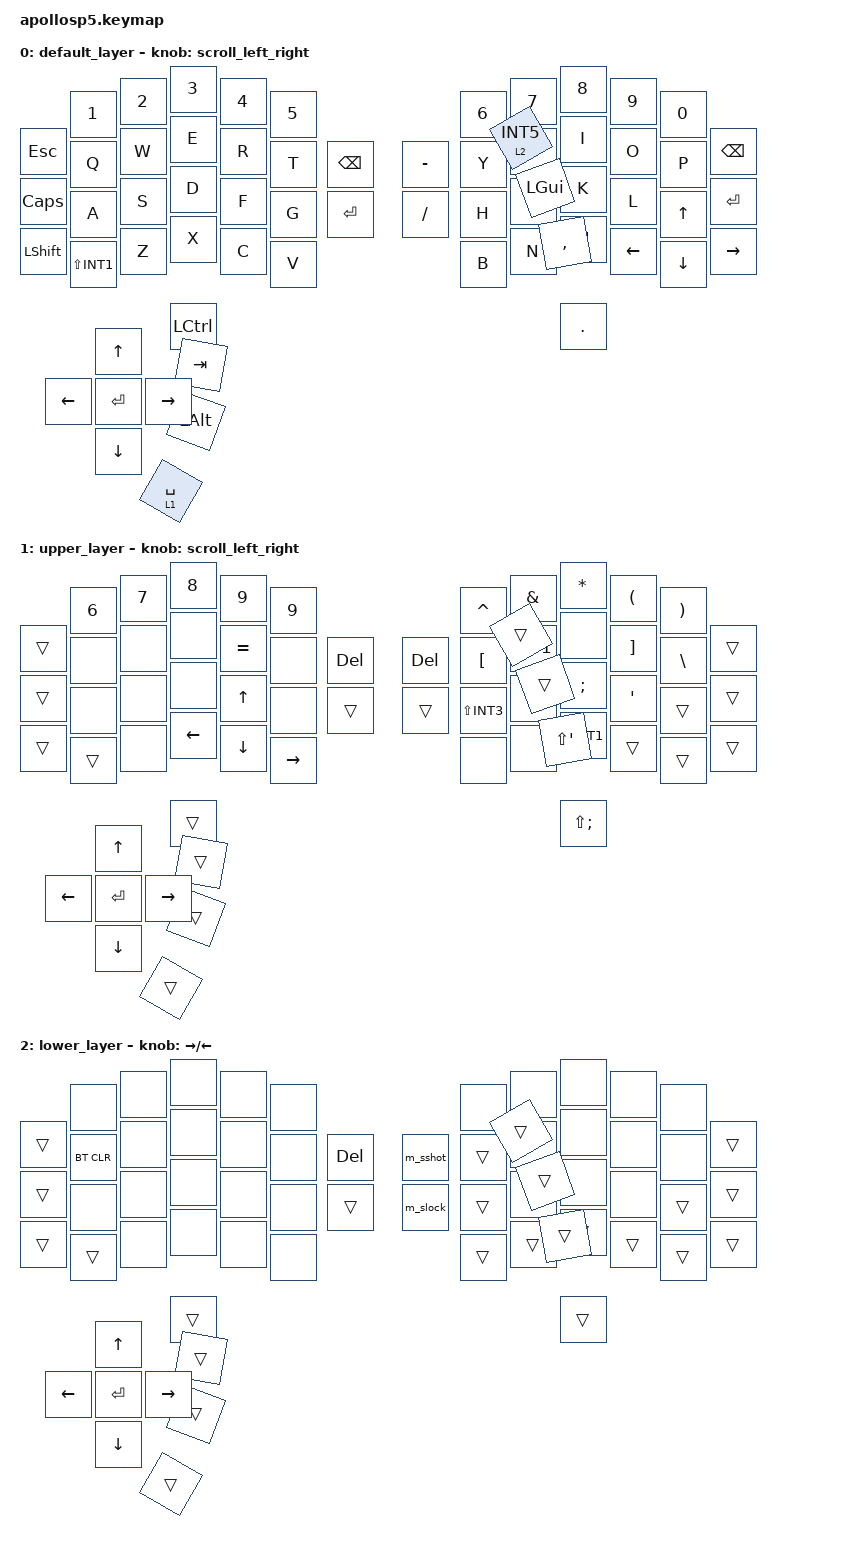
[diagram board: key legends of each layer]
#include <behaviors.dtsi>
#include <dt-bindings/zmk/keys.h>
#include <dt-bindings/zmk/bt.h>
#include <dt-bindings/zmk/outputs.h>
#include <dt-bindings/zmk/pointing.h>
#define ZMK_POINTING_DEFAULT_SCRL_VAL 100

&msc {
        x-input-code = <INPUT_REL_HWHEEL>; // 横スクロールの定義
        y-input-code = <INPUT_REL_WHEEL>;  // 縦スクロールの定義
        time-to-max-speed-ms = <100>;      // 100〜300くらいが快適です
        acceleration-exponent = <3>;       // 0だと等速、1以上だと加速がつきます
};

/ {
        macros {
                // 画面ショット (Shift + Win + S)
                m_sshot: m_sshot {
                        compatible = "zmk,behavior-macro";
                        #binding-cells = <0>;
                        bindings
                                = <&macro_press &kp LSHFT &kp LGUI>
                                , <&macro_tap &kp S>
                                , <&macro_release &kp LSHFT &kp LGUI>;
                };

                // 画面ロック (Ctrl + Alt + Del)
                m_slock: m_slock {
                        compatible = "zmk,behavior-macro";
                        #binding-cells = <0>;
                        bindings
                                = <&macro_press &kp LCTRL &kp LALT>
                                , <&macro_tap &kp DEL>
                                , <&macro_release &kp LCTRL &kp LALT>;
                };
        };


        combos {
                compatible = "zmk,combos";
                // 1 + Q で BT0
                combo_bt0 {
                    timeout-ms = <50>;
                    key-positions = <0 11>;
                    bindings = <&bt BT_SEL 0>;
                    layers = <1>;
                };

                // 2 + W で BT1
                combo_bt1 {
                    timeout-ms = <50>;
                    key-positions = <1 12>;
                    bindings = <&bt BT_SEL 1>;
                    layers = <1>;
                };

                // 3 + E で BT2
                combo_bt2 {
                    timeout-ms = <50>;
                    key-positions = <2 13>;
                    bindings = <&bt BT_SEL 2>;
                    layers = <1>;
                };

                // 4 + R で BT3
                combo_bt3 {
                    timeout-ms = <50>;
                    key-positions = <3 14>;
                    bindings = <&bt BT_SEL 3>;
                    layers = <1>;
                };
        };

        behaviors {
                // 横スクロール
                scroll_left_right: behavior_sensor_rotate_mouse_wheel_left_right {
                        compatible = "zmk,behavior-sensor-rotate";
                        #sensor-binding-cells = <0>;
                        bindings = <&msc SCRL_RIGHT>, <&msc SCRL_LEFT>;
                        tap-ms = <50>;
                };
        };


/* 
 * ============================================================================
 *  JIS (Japanese) Layout Symbol Mapping with Modifiers for ZMK
 *  OS側が日本語配列(JIS)設定の時に、目的の記号を1つのキーで出すための設定
 *  参考: https://v0-3-branch.zmk.dev/docs/keymaps/list-of-keycodes#modifiers
 * ============================================================================
 *  Desired Symbol    ┃ ZMK Binding       ┃ Original Key on JIS Layout
 * -------------------┃-------------------┃------------------------------------
 *  ! (exclamation)   ┃ &kp LS(N1)        ┃ Shift + 1
 *  " (double quote)  ┃ &kp LS(N2)        ┃ Shift + 2
 *  # (hash / sharp)  ┃ &kp LS(N3)        ┃ Shift + 3
 *  $ (dollar)        ┃ &kp LS(N4)        ┃ Shift + 4
 *  % (percent)       ┃ &kp LS(N5)        ┃ Shift + 5
 *  & (ampersand)     ┃ &kp LS(N6)        ┃ Shift + 6
 *  ' (single quote)  ┃ &kp LS(N7)        ┃ Shift + 7
 *  ( (paren open)    ┃ &kp LS(N8)        ┃ Shift + 8
 *  ) (paren close)   ┃ &kp LS(N9)        ┃ Shift + 9
 *  ~ (tilde)         ┃ &kp LS(EQUAL)     ┃ Shift + ^
 *  ┃ (pipe)          ┃ &kp LS(INT3)      ┃ Shift + ￥
 *  + (plus)          ┃ &kp LS(SEMI)      ┃ Shift + ;
 *  * (asterisk)      ┃ &kp LS(SQT)       ┃ Shift + :
 *  < (less than)     ┃ &kp LS(COMMA)     ┃ Shift + ,
 *  > (greater than)  ┃ &kp LS(DOT)       ┃ Shift + .
 *  ? (question)      ┃ &kp LS(SLASH)     ┃ Shift + /
 *  _ (underscore)    ┃ &kp LS(INT1)      ┃ Shift + ろ
 *  { (brace open)    ┃ &kp LS(RBKT)      ┃ Shift + ]  (JISでの物理位置)
 *  } (brace close)   ┃ &kp LS(BSLH)      ┃ Shift + \  (JISでの物理位置)
 * -------------------┃-------------------┃------------------------------------
 *  Shift不要の記号    ┃ ZMK Binding       ┃ Note
 * -------------------┃-------------------┃------------------------------------
 *  @ (at mark)       ┃ &kp LBKT          ┃ [ のキー
 *  [ (bracket open)  ┃ &kp RBKT          ┃ ] のキー
 *  ] (bracket close) ┃ &kp BSLH          ┃ \ のキー
 *  ^ (caret)         ┃ &kp EQUAL         ┃ ^ のキー
 *  : (colon)         ┃ &kp SQT           ┃ : のキー
 *  ; (semicolon)     ┃ &kp SEMI          ┃ ; のキー
 *  \                 ┃ &kp INT1          ┃ 円マーク
 *  '                 ┃ &kp AMPS          ┃ '
 * ============================================================================
 */

    keymap {
        compatible = "zmk,keymap";

        // レイヤー0: 基本レイヤー
        default_layer {
            bindings = <
                           &kp N1        &kp N2    &kp N3     &kp N4     &kp N5                                &kp N6    &kp N7    &kp N8    &kp N9    &kp N0
                &kp ESC    &kp Q         &kp W     &kp E      &kp R      &kp T     &kp BSPC        &kp MINUS   &kp Y     &kp U     &kp I     &kp O     &kp P     &kp BSPC
                &kp CAPS   &kp A         &kp S     &kp D      &kp F      &kp G     &kp ENTER       &kp SLASH   &kp H     &kp J     &kp K     &kp L     &kp UP    &kp ENTER
                &kp LSHFT  &kp LS(INT1)  &kp Z     &kp X      &kp C      &kp V                                 &kp B     &kp N     &kp M     &kp LEFT  &kp DOWN  &kp RIGHT
                                                   &kp LCTRL  &kp TAB    &kp LALT  &lt 1 SPACE     &lt 2 INT5  &kp LGUI  &kp COMMA &kp DOT
                                         &kp UP    &kp LEFT   &kp DOWN   &kp RIGHT &kp ENTER
            >;
            sensor-bindings = <&scroll_left_right>;
        };

        // レイヤー1: Upper
        upper_layer {
            bindings = <
                        &kp N6     &kp N7    &kp N8     &kp N9     &kp N9                           &kp CARET     &kp AMPS     &kp ASTRK     &kp LPAR  &kp RPAR 
                &trans  &none      &none     &none      &kp EQUAL  &none      &kp DEL    &kp DEL    &kp LBKT      &kp INT1     &none         &kp RBKT  &kp BSLH   &trans
                &trans  &none      &none     &none      &kp UP     &none      &trans     &trans     &kp LS(INT3)  &none        &kp SEMI      &kp SQT   &trans     &trans
                &trans  &trans     &none     &kp LEFT   &kp DOWN   &kp RIGHT                        &none         &none        &kp LS(INT1)  &trans    &trans     &trans
                                             &trans     &trans     &trans     &trans     &trans     &trans        &kp LS(SQT)  &kp LS(SEMI)
                                   &kp UP    &kp LEFT   &kp DOWN   &kp RIGHT  &kp ENTER
            >;
            sensor-bindings = <&scroll_left_right>;
        };

        // レイヤー2: Lower
        lower_layer {
            bindings = <
                        &none       &none    &none     &none     &none                           &none   &none   &none   &none   &none
                &trans  &bt BT_CLR  &none    &none     &none     &none      &kp DEL    &m_sshot  &trans  &trans  &none   &none   &none   &trans
                &trans  &none       &none    &none     &none     &none      &trans     &m_slock  &trans  &trans  &none   &none   &trans  &trans
                &trans  &trans      &none    &none     &none     &none                           &trans  &trans  &trans  &trans  &trans  &trans
                                             &trans    &trans    &trans     &trans     &trans    &trans  &trans  &trans
                                    &kp UP   &kp LEFT  &kp DOWN  &kp RIGHT  &kp ENTER
            >;
            sensor-bindings = <&inc_dec_kp RIGHT LEFT>;
        };
    };
};
